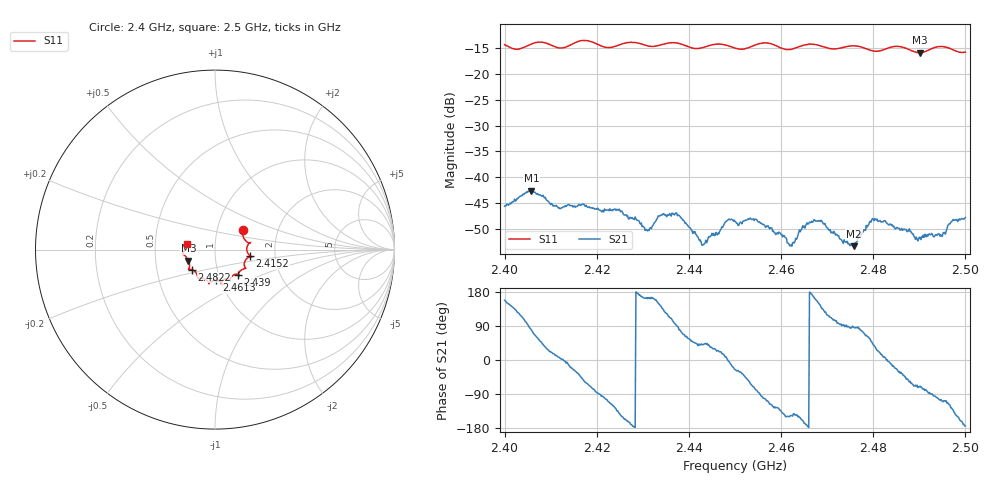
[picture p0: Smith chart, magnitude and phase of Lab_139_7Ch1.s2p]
# Hz S RI R 50
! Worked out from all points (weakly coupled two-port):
!   601 points, 2.4 GHz to 2.5 GHz, reference 50 ohm
!   highest |S21| = -42.60 dB at 2.4058 GHz (marker M1); lowest = -53.3 dB at 2.4758 GHz (marker M2)
!   lowest |S11| = -15.9 dB at 2.4902 GHz (marker M3), VSWR 1.38, Z = 36.9 - j4.61 ohm
!   |S11| at or under -10 dB: start of sweep to end of sweep
!   S12 and S22 are empty: the file has one direction only
!   S11 on the Smith chart (normalised r, x): 2.4 GHz: 1.33, +0.31; 2.4152 GHz: 1.48, -0.11; 2.439 GHz: 1.24, -0.36; 2.4613 GHz: 0.96, -0.34; 2.4822 GHz: 0.76, -0.17; 2.5 GHz: 0.72, +0.05
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2.4e9  0.1552 0.1113  -0.00486 0.002  0 0  0 0
2.405833e9  0.1907 0.0371  0.00144 0.00727  0 0  0 0
2.411833e9  0.1772 0.00849  0.00505 0.000612  0 0  0 0
2.415167e9  0.1948 -0.0361  0.00474 -0.00239  0 0  0 0
2.416667e9  0.2047 -0.0421  0.00379 -0.00389  0 0  0 0
2.424833e9  0.1648 -0.0943  -0.00379 -0.00315  0 0  0 0
2.430833e9  0.1498 -0.1121  -0.00301 0.000805  0 0  0 0
2.433333e9  0.1325 -0.1324  -0.00367 0.00213  0 0  0 0
2.439e9  0.1277 -0.1388  0.00145 0.00346  0 0  0 0
2.443333e9  0.0886 -0.1575  0.00168 0.00155  0 0  0 0
2.448333e9  0.0827 -0.1683  0.00385 0.000115  0 0  0 0
2.45e9  0.0685 -0.1633  0.00339 -0.00159  0 0  0 0
2.454333e9  0.0348 -0.1861  0.00093 -0.00383  0 0  0 0
2.461333e9  0.00768 -0.1709  -0.00198 -0.00121  0 0  0 0
2.4625e9  -0.00974 -0.1734  -0.00198 -0.00123  0 0  0 0
2.466667e9  -0.0338 -0.1902  -0.00375 0.0004  0 0  0 0
2.475833e9  -0.0938 -0.1607  0.000132 0.00216  0 0  0 0
2.4795e9  -0.1034 -0.1325  0.00239 0.00282  0 0  0 0
2.482167e9  -0.1282 -0.1117  0.00368 0.00051  0 0  0 0
2.483333e9  -0.1395 -0.1101  0.00347 -0.000268  0 0  0 0
2.490167e9  -0.1477 -0.0608  0.000935 -0.00244  0 0  0 0
2.5e9  -0.1585 0.0337  -0.00407 -0.000408  0 0  0 0
